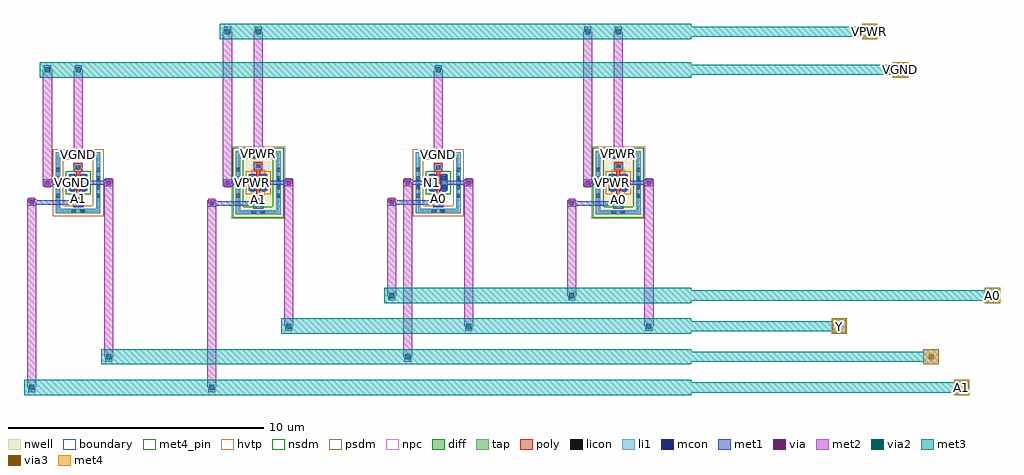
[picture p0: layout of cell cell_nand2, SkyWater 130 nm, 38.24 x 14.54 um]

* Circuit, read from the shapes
.subckt cell_nand2 A0 A1 N1 VGND VPWR Y
XM1 N1 A1 VGND VGND sky130_fd_pr__nfet_01v8 w=0.65 l=0.15
XM2 Y A0 N1 VGND sky130_fd_pr__nfet_01v8 w=0.65 l=0.15
XM3 Y A1 VPWR VPWR sky130_fd_pr__pfet_01v8_hvt w=0.65 l=0.15
XM4 Y A0 VPWR VPWR sky130_fd_pr__pfet_01v8_hvt w=0.65 l=0.15
.ends

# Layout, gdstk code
import gdstk
lib = gdstk.Library(unit=1e-6, precision=1e-09)
def R(c, l, rs):  # rectangles x0, y0, x1, y1
    for r in rs: c.add(gdstk.rectangle(r[:2], r[2:], *l))
def A(c, l, x, y, w, h, nx, ny, dx, dy):  # array of equal rectangles
    R(c, l, [(x+i*dx, y+j*dy, x+i*dx+w, y+j*dy+h) for i in range(nx) for j in range(ny)])
nwell = (64, 20)
diff = (65, 20)
tap = (65, 44)
poly = (66, 20)
licon = (66, 44)
li1 = (67, 20)
mcon = (67, 44)
met1 = (68, 20)
via = (68, 44)
met2 = (69, 20)
via2 = (69, 44)
met3 = (70, 20)
via3 = (70, 44)
met4_pin = (71, 16)
met4 = (71, 20)
hvtp = (78, 44)
nsdm = (93, 44)
psdm = (94, 20)
npc = (95, 20)
boundary = (235, 4)

cell_nand2 = lib.new_cell('cell_nand2')
R(cell_nand2, nwell, [(18.12,16.9,20.23,19.74), (32.23,16.9,34.34,19.74)])
A(cell_nand2, diff, 11.755, 17.995, 0.73, 0.65, 4, 1, 7.055, 0)
R(cell_nand2, tap, [(18.3,17.08,20.05,17.25), (32.41,17.08,34.16,17.25), (11.245,17.125,12.995,17.295), (25.355,17.125,27.105,17.295), (18.3,17.25,18.47,19.39), (19.88,17.25,20.05,19.39), (32.41,17.25,32.58,19.39), (33.99,17.25,34.16,19.39), (11.245,17.295,11.415,19.345), (12.825,17.295,12.995,19.345), (25.355,17.295,25.525,19.345), (26.935,17.295,27.105,19.345), (11.245,19.345,12.995,19.515), (25.355,19.345,27.105,19.515), (18.3,19.39,20.05,19.56), (32.41,19.39,34.16,19.56)])
R(cell_nand2, poly, [(19.01,17.51,19.34,17.84), (33.12,17.51,33.45,17.84), (11.955,17.555,12.285,17.885), (26.065,17.555,26.395,17.885), (19.1,17.84,19.25,18.8), (33.21,17.84,33.36,18.8), (12.045,17.885,12.195,18.755), (26.155,17.885,26.305,18.755), (11.955,18.755,12.285,19.085), (26.065,18.755,26.395,19.085), (19.01,18.8,19.34,19.13), (33.12,18.8,33.45,19.13)])
A(cell_nand2, licon, 11.245, 17.725, 0.17, 0.17, 1, 4, 0, 0.34)
A(cell_nand2, licon, 12.825, 17.725, 0.17, 0.17, 1, 4, 0, 0.34)
A(cell_nand2, licon, 18.3, 17.725, 0.17, 0.17, 1, 4, 0, 0.34)
A(cell_nand2, licon, 19.88, 17.725, 0.17, 0.17, 1, 4, 0, 0.34)
A(cell_nand2, licon, 25.355, 17.725, 0.17, 0.17, 1, 4, 0, 0.34)
A(cell_nand2, licon, 26.935, 17.725, 0.17, 0.17, 1, 4, 0, 0.34)
A(cell_nand2, licon, 32.41, 17.725, 0.17, 0.17, 1, 4, 0, 0.34)
A(cell_nand2, licon, 33.99, 17.725, 0.17, 0.17, 1, 4, 0, 0.34)
R(cell_nand2, licon, [(18.92,17.08,19.09,17.25), (19.26,17.08,19.43,17.25), (33.03,17.08,33.2,17.25), (33.37,17.08,33.54,17.25), (11.865,17.125,12.035,17.295), (12.205,17.125,12.375,17.295), (25.975,17.125,26.145,17.295), (26.315,17.125,26.485,17.295), (19.09,17.59,19.26,17.76), (33.2,17.59,33.37,17.76), (12.035,17.635,12.205,17.805), (26.145,17.635,26.315,17.805), (11.815,18.065,11.985,18.235), (12.255,18.065,12.425,18.235), (18.87,18.065,19.04,18.235), (19.31,18.065,19.48,18.235), (25.925,18.065,26.095,18.235), (26.365,18.065,26.535,18.235), (32.98,18.065,33.15,18.235), (33.42,18.065,33.59,18.235), (11.815,18.405,11.985,18.575), (12.255,18.405,12.425,18.575), (18.87,18.405,19.04,18.575), (19.31,18.405,19.48,18.575), (25.925,18.405,26.095,18.575), (26.365,18.405,26.535,18.575), (32.98,18.405,33.15,18.575), (33.42,18.405,33.59,18.575), (12.035,18.835,12.205,19.005), (26.145,18.835,26.315,19.005), (19.09,18.88,19.26,19.05), (33.2,18.88,33.37,19.05), (11.865,19.345,12.035,19.515), (12.205,19.345,12.375,19.515), (25.975,19.345,26.145,19.515), (26.315,19.345,26.485,19.515), (18.92,19.39,19.09,19.56), (19.26,19.39,19.43,19.56), (33.03,19.39,33.2,19.56), (33.37,19.39,33.54,19.56)])
R(cell_nand2, li1, [(18.3,17.08,20.05,17.25), (32.41,17.08,34.16,17.25), (11.245,17.125,12.995,17.295), (25.355,17.125,27.105,17.295), (18.3,17.25,18.47,19.39), (19.88,17.25,20.05,19.39), (32.41,17.25,32.58,19.39), (33.99,17.25,34.16,19.39), (11.245,17.295,11.415,19.345), (12.825,17.295,12.995,19.345), (25.355,17.295,25.525,19.345), (26.935,17.295,27.105,19.345), (19.09,17.42,19.26,17.76), (33.2,17.42,33.37,17.76), (12.035,17.465,12.205,17.805), (26.145,17.465,26.315,17.805), (19.01,17.59,19.34,17.76), (33.12,17.59,33.45,17.76), (11.955,17.635,12.285,17.805), (26.065,17.635,26.395,17.805), (11.815,17.975,11.985,18.665), (12.255,17.975,12.425,18.665), (18.87,17.975,19.04,18.665), (19.31,17.975,19.48,18.665), (25.925,17.975,26.095,18.665), (26.365,17.975,26.535,18.665), (32.98,17.975,33.15,18.665), (33.42,17.975,33.59,18.665), (11.955,18.835,12.285,19.005), (26.065,18.835,26.395,19.005), (19.01,18.88,19.34,19.05), (33.12,18.88,33.45,19.05), (11.245,19.345,12.995,19.515), (25.355,19.345,27.105,19.515), (18.3,19.39,20.05,19.56), (32.41,19.39,34.16,19.56)])
R(cell_nand2, mcon, [(19.09,17.42,19.26,17.59), (33.2,17.42,33.37,17.59), (12.035,17.465,12.205,17.635), (26.145,17.465,26.315,17.635), (11.815,18.055,11.985,18.225), (12.255,18.055,12.425,18.225), (18.87,18.055,19.04,18.225), (19.31,18.055,19.48,18.225), (25.925,18.055,26.095,18.225), (26.365,18.055,26.535,18.225), (32.98,18.055,33.15,18.225), (33.42,18.055,33.59,18.225), (11.815,18.415,11.985,18.585), (12.255,18.415,12.425,18.585), (18.87,18.415,19.04,18.585), (19.31,18.415,19.48,18.585), (25.925,18.415,26.095,18.585), (26.365,18.415,26.535,18.585), (32.98,18.415,33.15,18.585), (33.42,18.415,33.59,18.585), (12.035,19.345,12.205,19.515), (26.145,19.345,26.315,19.515), (19.09,19.39,19.26,19.56), (33.2,19.39,33.37,19.56)])
R(cell_nand2, met1, [(18.975,17.305,19.375,17.705), (33.085,17.305,33.485,17.705), (11.92,17.35,12.32,17.75), (26.03,17.35,26.43,17.75), (17.175,17.375,17.535,17.635), (31.285,17.375,31.645,17.635), (10.12,17.42,10.48,17.68), (17.355,17.42,19.175,17.59), (24.23,17.42,24.59,17.68), (31.465,17.42,33.285,17.59), (10.3,17.465,12.12,17.635), (24.41,17.465,26.23,17.635), (11.785,17.995,12.015,18.645), (12.225,17.995,12.455,18.645), (18.84,17.995,19.07,18.645), (19.28,17.995,19.51,18.645), (25.895,17.995,26.125,18.645), (26.335,17.995,26.565,18.645), (32.95,17.995,33.18,18.645), (33.39,17.995,33.62,18.645), (10.74,18.19,11.1,18.45), (13.14,18.19,13.5,18.45), (17.795,18.19,18.155,18.45), (20.195,18.19,20.555,18.45), (24.85,18.19,25.21,18.45), (27.25,18.19,27.61,18.45), (31.905,18.19,32.265,18.45), (34.305,18.19,34.665,18.45), (10.92,18.235,11.9,18.405), (12.34,18.235,13.32,18.405), (17.975,18.235,18.955,18.405), (19.395,18.235,20.375,18.405), (25.03,18.235,26.01,18.405), (26.45,18.235,27.43,18.405), (32.085,18.235,33.065,18.405), (33.505,18.235,34.485,18.405), (11.92,19.23,12.32,19.63), (26.03,19.23,26.43,19.63), (18.975,19.275,19.375,19.675), (33.085,19.275,33.485,19.675), (11.94,19.3,12.3,19.56), (26.05,19.3,26.41,19.56), (18.995,19.345,19.355,19.605), (33.105,19.345,33.465,19.605)])
R(cell_nand2, via, [(17.28,17.43,17.43,17.58), (31.39,17.43,31.54,17.58), (10.225,17.475,10.375,17.625), (24.335,17.475,24.485,17.625), (10.845,18.245,10.995,18.395), (13.245,18.245,13.395,18.395), (17.9,18.245,18.05,18.395), (20.3,18.245,20.45,18.395), (24.955,18.245,25.105,18.395), (27.355,18.245,27.505,18.395), (32.01,18.245,32.16,18.395), (34.41,18.245,34.56,18.395), (12.045,19.355,12.195,19.505), (26.155,19.355,26.305,19.505), (19.1,19.4,19.25,19.55), (33.21,19.4,33.36,19.55)])
A(cell_nand2, met2, 20.235, 12.51, 0.28, 0.38, 3, 1, 7.055, 0)
A(cell_nand2, met2, 20.195, 12.7, 0.36, 5.62, 3, 1, 7.055, 0)
R(cell_nand2, met2, [(10.16,10.11,10.44,10.49), (17.215,10.11,17.495,10.49), (10.12,10.3,10.48,17.55), (17.175,10.3,17.535,17.505), (13.18,11.31,13.46,11.69), (24.89,11.31,25.17,11.69), (13.14,11.5,13.5,18.32), (24.85,11.5,25.21,18.32), (24.27,13.71,24.55,14.09), (31.325,13.71,31.605,14.09), (24.23,13.9,24.59,17.55), (31.285,13.9,31.645,17.505), (17.225,17.325,17.485,17.685), (31.335,17.325,31.595,17.685), (10.17,17.37,10.43,17.73), (24.28,17.37,24.54,17.73), (10.79,18.14,11.05,18.5), (13.19,18.14,13.45,18.5), (17.845,18.14,18.105,18.5), (20.245,18.14,20.505,18.5), (24.9,18.14,25.16,18.5), (27.3,18.14,27.56,18.5), (31.955,18.14,32.215,18.5), (34.355,18.14,34.615,18.5), (10.74,18.32,11.1,22.74), (17.795,18.32,18.155,24.24), (31.905,18.32,32.265,24.24), (11.99,19.25,12.25,19.61), (26.1,19.25,26.36,19.61), (19.045,19.295,19.305,19.655), (33.155,19.295,33.415,19.655), (11.94,19.43,12.3,22.74), (26.05,19.43,26.41,22.74), (18.995,19.475,19.355,24.24), (33.105,19.475,33.465,24.24), (10.78,22.55,11.06,22.93), (11.98,22.55,12.26,22.93), (26.09,22.55,26.37,22.93), (17.835,24.05,18.115,24.43), (19.035,24.05,19.315,24.43), (31.945,24.05,32.225,24.43), (33.145,24.05,33.425,24.43)])
A(cell_nand2, via2, 20.275, 12.6, 0.2, 0.2, 3, 1, 7.055, 0)
R(cell_nand2, via2, [(10.2,10.2,10.4,10.4), (17.255,10.2,17.455,10.4), (13.22,11.4,13.42,11.6), (24.93,11.4,25.13,11.6), (24.31,13.8,24.51,14), (31.365,13.8,31.565,14), (10.82,22.64,11.02,22.84), (12.02,22.64,12.22,22.84), (26.13,22.64,26.33,22.84), (17.875,24.14,18.075,24.34), (19.075,24.14,19.275,24.34), (31.985,24.14,32.185,24.34), (33.185,24.14,33.385,24.34)])
A(cell_nand2, met3, 20.125, 12.45, 0.5, 0.5, 3, 1, 7.055, 0)
R(cell_nand2, met3, [(10,10,36.14,10.6), (46.44,10,47.04,10.6), (10.05,10.05,10.55,10.55), (17.105,10.05,17.605,10.55), (13.02,11.2,36.14,11.8), (45.24,11.2,45.84,11.8), (13.07,11.25,13.57,11.75), (24.78,11.25,25.28,11.75), (20.075,12.4,36.14,13), (41.64,12.4,42.24,13), (24.11,13.6,36.14,14.2), (47.64,13.6,48.24,14.2), (24.16,13.65,24.66,14.15), (31.215,13.65,31.715,14.15), (10.62,22.44,36.14,23.04), (44.04,22.44,44.64,23.04), (10.67,22.49,11.17,22.99), (11.87,22.49,12.37,22.99), (25.98,22.49,26.48,22.99), (17.675,23.94,36.14,24.54), (42.84,23.94,43.44,24.54), (17.725,23.99,18.225,24.49), (18.925,23.99,19.425,24.49), (31.835,23.99,32.335,24.49), (33.035,23.99,33.535,24.49)])
R(cell_nand2, via3, [(46.64,10.2,46.84,10.4), (45.44,11.4,45.64,11.6), (41.84,12.6,42.04,12.8), (47.84,13.8,48.04,14), (44.24,22.64,44.44,22.84), (43.04,24.14,43.24,24.34)])
R(cell_nand2, met4_pin, [(46.49,10.05,46.99,10.55), (41.69,12.45,42.19,12.95), (47.69,13.65,48.19,14.15), (44.09,22.49,44.59,22.99), (42.89,23.99,43.39,24.49)])
R(cell_nand2, met4, [(46.44,10,47.04,10.6), (46.49,10,46.99,10.6), (45.24,11.2,45.84,11.8), (45.29,11.2,45.79,11.8), (41.64,12.4,42.24,13), (41.69,12.4,42.19,13), (47.64,13.6,48.24,14.2), (47.69,13.6,48.19,14.2), (44.04,22.44,44.64,23.04), (44.09,22.44,44.59,23.04), (42.84,23.94,43.44,24.54), (42.89,23.94,43.39,24.54)])
R(cell_nand2, hvtp, [(18.92,17.815,19.43,18.825), (33.03,17.815,33.54,18.825)])
R(cell_nand2, nsdm, [(18.175,16.955,20.175,17.375), (32.285,16.955,34.285,17.375), (18.175,17.375,18.595,19.265), (19.755,17.375,20.175,19.265), (32.285,17.375,32.705,19.265), (33.865,17.375,34.285,19.265), (11.63,17.87,12.61,18.77), (25.74,17.87,26.72,18.77), (18.175,19.265,20.175,19.685), (32.285,19.265,34.285,19.685)])
R(cell_nand2, psdm, [(11.12,17,13.12,17.42), (25.23,17,27.23,17.42), (11.12,17.42,11.54,19.22), (12.7,17.42,13.12,19.22), (25.23,17.42,25.65,19.22), (26.81,17.42,27.23,19.22), (18.685,17.87,19.665,18.77), (32.795,17.87,33.775,18.77), (11.12,19.22,13.12,19.64), (25.23,19.22,27.23,19.64)])
R(cell_nand2, npc, [(18.99,17.49,19.36,17.86), (33.1,17.49,33.47,17.86), (11.935,17.535,12.305,17.905), (26.045,17.535,26.415,17.905), (11.935,18.735,12.305,19.105), (26.045,18.735,26.415,19.105), (18.99,18.78,19.36,19.15), (33.1,18.78,33.47,19.15)])
R(cell_nand2, boundary, [(18.385,17.165,19.965,19.475), (32.495,17.165,34.075,19.475), (11.33,17.21,12.91,19.43), (25.44,17.21,27.02,19.43)])
cell_nand2.add(gdstk.FlexPath([(43.14,24.24),(36.14,24.24)], 0.4, ends="flush", simple_path=True, layer=70, datatype=20))  # met3
cell_nand2.add(gdstk.FlexPath([(41.94,12.7),(36.14,12.7)], 0.4, ends="flush", simple_path=True, layer=70, datatype=20))  # met3
cell_nand2.add(gdstk.FlexPath([(44.34,22.74),(36.14,22.74)], 0.4, ends="flush", simple_path=True, layer=70, datatype=20))  # met3
cell_nand2.add(gdstk.FlexPath([(45.54,11.5),(36.14,11.5)], 0.4, ends="flush", simple_path=True, layer=70, datatype=20))  # met3
cell_nand2.add(gdstk.FlexPath([(46.74,10.3),(36.14,10.3)], 0.4, ends="flush", simple_path=True, layer=70, datatype=20))  # met3
cell_nand2.add(gdstk.FlexPath([(47.94,13.9),(36.14,13.9)], 0.4, ends="flush", simple_path=True, layer=70, datatype=20))  # met3
cell_nand2.add(gdstk.Label('VPWR', (33.065,18.32), layer=67, texttype=5))
cell_nand2.add(gdstk.Label('Y', (33.505,18.32), layer=67, texttype=5))
cell_nand2.add(gdstk.Label('VPWR', (18.955,18.32), layer=67, texttype=5))
cell_nand2.add(gdstk.Label('Y', (19.395,18.32), layer=67, texttype=5))
cell_nand2.add(gdstk.Label('VGND', (11.9,18.32), layer=67, texttype=5))
cell_nand2.add(gdstk.Label('A1', (12.12,17.72), layer=67, texttype=5))
cell_nand2.add(gdstk.Label('VGND', (26.23,19.43), layer=67, texttype=5))
cell_nand2.add(gdstk.Label('A0', (33.285,17.675), layer=67, texttype=5))
cell_nand2.add(gdstk.Label('N1', (26.01,18.32), layer=67, texttype=5))
cell_nand2.add(gdstk.Label('N1', (12.34,18.32), layer=67, texttype=5))
cell_nand2.add(gdstk.Label('A0', (26.23,17.72), layer=67, texttype=5))
cell_nand2.add(gdstk.Label('VGND', (12.12,19.43), layer=67, texttype=5))
cell_nand2.add(gdstk.Label('VPWR', (33.285,19.475), layer=67, texttype=5))
cell_nand2.add(gdstk.Label('Y', (26.45,18.32), layer=67, texttype=5))
cell_nand2.add(gdstk.Label('VPWR', (19.175,19.475), layer=67, texttype=5))
cell_nand2.add(gdstk.Label('A1', (19.175,17.675), layer=67, texttype=5))
cell_nand2.add(gdstk.Label('Y', (41.94,12.7), layer=71, texttype=5))
cell_nand2.add(gdstk.Label('VPWR', (43.14,24.24), layer=71, texttype=5))
cell_nand2.add(gdstk.Label('A1', (46.74,10.3), layer=71, texttype=5))
cell_nand2.add(gdstk.Label('VGND', (44.34,22.74), layer=71, texttype=5))
cell_nand2.add(gdstk.Label('A0', (47.94,13.9), layer=71, texttype=5))

lib.write_gds('cell_nand2.gds')
